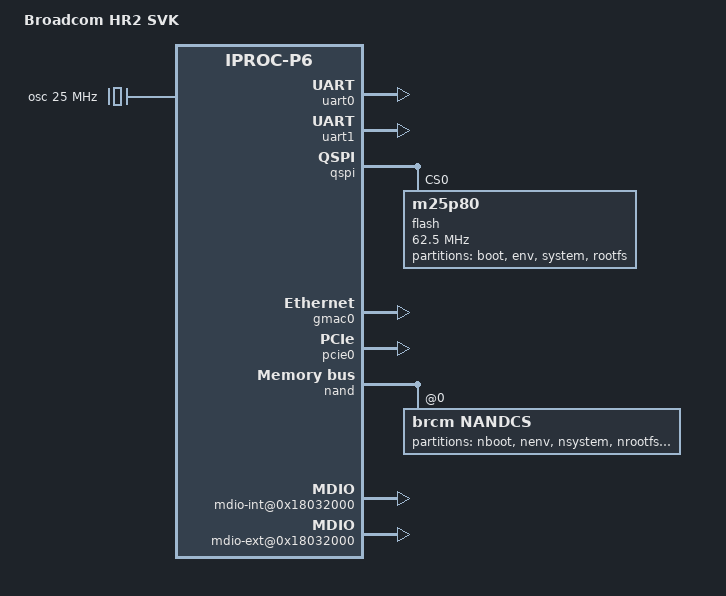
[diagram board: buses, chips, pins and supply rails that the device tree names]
/*
 HR2 DTS
*/

/dts-v1/;

#include <dt-bindings/interrupt-controller/arm-gic.h>
#include "skeleton.dtsi"


/ {
	model = "Broadcom HR2 SVK";
	compatible = "brcm,hurricane2", "brcm,iproc-p6";
	interrupt-parent = <&gic>;

	aliases {
		serial0 = &uart1;
		serial1 = &uart0;
		ethernet0 = &gmac0;
	};
  	
	chosen {
		bootargs = "console=ttyS0,115200n8 maxcpus=1 mem=496M";
	};

	cpus {
		#address-cells = <1>;
		#size-cells = <0>;

		cpu@0 {
			device_type = "cpu";
			compatible = "arm,cortex-a9";
			next-level-cache = <&L2>;
			reg = <0x0>;
		};
	};
  	
  	L2: l2-cache {
		compatible = "arm,pl310-cache";
		reg = <0x19022000 0x1000>;
		cache-unified;
		cache-level = <2>;
		/* aux register value */
		arm,aux-value = <0x00020000>;
		arm,aux-mask = <0xfff0ffff>;
		arm,filter-ranges = <0x60000000 0x80000000>;
		/*arm,data-latency = <2 2 2>;*/
		/*arm,tag-latency = <1 1 1>;*/
	};
  	
  	clocks {
		#address-cells = <1>;
		#size-cells = <1>;
		ranges;

		osc: oscillator {
			#clock-cells = <0>;
			compatible = "fixed-clock";
			clock-frequency = <25000000>;
		};

		a9pll: arm_clk@0x19000000 {
			#clock-cells = <0>;
			compatible = "brcm,iproc-armpll";
			clocks = <&osc>;
			reg = <0x19000000 0x1000>;
		};

		periph_clk: periph_clk@0x19000000 {
			#clock-cells = <0>;
			compatible = "fixed-factor-clock";
			clocks = <&a9pll>;
			clock-div = <2>;
			clock-mult = <1>;
		};

		axi_clk: axi_clk@0x1803fc00 {
			#clock-cells = <0>;
			compatible = "brcm,iproc-genpll";
			clocks = <&osc>;
			reg = <0x1803fc00 0x1c>;
		};

		apb_clk: apb_clk@0x1803fc00 {
			#clock-cells = <0>;
			compatible = "fixed-factor-clock";
			clocks = <&axi_clk>;
			clock-div = <4>;
			clock-mult = <1>;
		};	
	};
  	
  	gic: interrupt-controller@0x19021000 {
		compatible = "arm,cortex-a9-gic";
		#interrupt-cells = <3>;
		interrupt-controller;
		reg = <0x19021000 0x1000>, <0x19020100 0x100>;
	};
  	  
 	local-timer@0x19020600 {
		compatible = "arm,cortex-a9-twd-timer";
		reg = <0x19020600 0x100>;
		interrupts = <GIC_PPI 13 IRQ_TYPE_EDGE_RISING>;
		clocks = <&periph_clk>;
	};
  	
  	timer@0x19020200 {
		compatible = "arm,cortex-a9-global-timer";
		reg = <0x19020200 0x100>;
		interrupts = <GIC_PPI 11 IRQ_TYPE_EDGE_RISING>; 
		clocks = <&periph_clk>;
	};
	
	uart0: serial@0x18000300 {
		compatible = "snps,dw-apb-uart";
		reg = <0x18000300 0x100>;
		interrupts = <GIC_SPI 91 IRQ_TYPE_LEVEL_HIGH>;
		clocks = <&apb_clk>;
	};

	uart1: serial@0x18000400 {
		compatible = "snps,dw-apb-uart";
		reg = <0x18000400 0x100>;
		interrupts = <GIC_SPI 91 IRQ_TYPE_LEVEL_HIGH>;
		clocks = <&apb_clk>;
		/*status = "disabled";*/
	};
	
	qspi: spi@0x18027000 {
		#address-cells = <1>;
		#size-cells = <0>;
		compatible = "brcm,iproc-qspi";
		reg = mspi_hw:<0x18027200 0x188>,
		      bspi_hw:<0x18027000 0x050>,
		  bspi_hw_raf:<0x18027100 0x024>,
		    qspi_intr:<0x180273a0 0x01c>,
		     idm_qspi:<0x1811c408 0x004>,
		       cru_hw:<0x1803e000 0x004>;
		interrupts = <GIC_SPI 78 IRQ_TYPE_LEVEL_HIGH>,
				<GIC_SPI 79 IRQ_TYPE_LEVEL_HIGH>,
				<GIC_SPI 80 IRQ_TYPE_LEVEL_HIGH>,
				<GIC_SPI 81 IRQ_TYPE_LEVEL_HIGH>,
				<GIC_SPI 82 IRQ_TYPE_LEVEL_HIGH>,
				<GIC_SPI 83 IRQ_TYPE_LEVEL_HIGH>,
				<GIC_SPI 84 IRQ_TYPE_LEVEL_HIGH>;
		#chip-select = <0>; 
		clocks = <&apb_clk>;
		clock-names = "apb_clk";
		flash: m25p80@0 {
			#address-cells = <1>;
			#size-cells = <1>;
			compatible = "m25p80";
			m25p,fast-read = <1>;
			spi-max-frequency = <62500000>;
			reg = <0x0>;
			partition@0 {
				label = "boot";
				reg = <0x00000000 0x000c0000>;
				/*read-only;*/
			};
			partition@1 {
				label = "env";
				reg = <0x000c0000 0x00040000>;
			};
			partition@2 {
				label = "system";
				reg = <0x00100000 0x00f00000>;
			};
			partition@3 {
				label = "rootfs";
				reg = <0x01000000 0x01000000>;
			};
		};
	};

	gmac0: ethernet@0x18022000 {
		compatible = "brcm,iproc-gmac";
		reg = <0x18022000 0x1000>;
		interrupts = <GIC_SPI 202 IRQ_TYPE_LEVEL_HIGH>;
	};

	gpio_cca: gpio@0x18000060 {
		compatible = "brcm,iproc-gpio,cca";
		#address-cells = <1>;
		#size-cells = <1>;
		#gpio-cells = <2>;
		reg = gpio: <0x18000060 0x50>,
		      intr: <0x18000000 0x50>, 
		       dmu: <0x18020000 0x200>;
		ngpios = <12>;
		pin-offset = <0>;
		pin-base = <4>;
		irq-base = <256>; /* sw irq base for irq handlers */
		gpio-controller;
		interrupt-controller;
		interrupts = <GIC_SPI 91 IRQ_TYPE_LEVEL_HIGH>;
	};
	
	pcie0: pcie@0x18012000 {
		compatible = "brcm,iproc-pcie", "iproc-p2";
		reg = <0x18012000 0x1000>;
		linux,pci-domain = <0>;
		interrupts = <GIC_SPI 182 IRQ_TYPE_LEVEL_HIGH>,
			     <GIC_SPI 183 IRQ_TYPE_LEVEL_HIGH>,
			     <GIC_SPI 184 IRQ_TYPE_LEVEL_HIGH>,
			     <GIC_SPI 185 IRQ_TYPE_LEVEL_HIGH>,
			     <GIC_SPI 186 IRQ_TYPE_LEVEL_HIGH>,
			     <GIC_SPI 187 IRQ_TYPE_LEVEL_HIGH>;
		status = "okay"; 
		#address-cells = <3>;
		#size-cells = <2>;
		device_type = "pci";
		/*non-prefetchable mem space, pcie addr 0x0 0x08000000,
		* cpu addr 0x08000000, size 0x0 0x08000000
		*/  		
		ranges = <0x82000000 0 0x08000000 0x08000000 0 0x08000000>;	
		phy-addr = <0>;
	};
	
	nand: nand@0x18026000 {
		compatible = "brcm,nand-iproc", "brcm,brcmnand-v6.1";
		reg = <0x18026000 0x600>, <0x1811b408 0x10>, <0x18026f00 0x20>;
		reg-names = "nand", "iproc-idm", "iproc-ext";
		interrupts = <GIC_SPI 74 IRQ_TYPE_LEVEL_HIGH>;
		#address-cells = <1>;
		#size-cells = <0>;
		brcm,nand-has-wp;
		
		nandcs@1 {
			compatible = "brcm,nandcs";
			reg = <0>;
			nand-on-flash-bbt;
			
			nand-ecc-strength = <24>;
			nand-ecc-step-size = <1024>;
			brcm,nand-oob-sector-size = <27>;

			#address-cells = <1>;
			#size-cells = <1>;
			
			partition@0 {
				label = "nboot";
				reg = <0x0 0x200000>;
				/*read-only;*/
			};
			partition@1 {
				label = "nenv";
				reg = <0x200000 0x400000>;
			};
			partition@2 {
				label = "nsystem";
				reg = <0x600000 0xa00000>;
			};
			partition@3 {
				label = "nrootfs";
				reg = <0x1000000 0xf000000>;
			};
			partition@4 {
				label = "ncustfs";
				reg = <0x10000000 0x70000000>;
			};		
		};
	};
		
	pnor_flash: pnor_flash@0x18021000 {
		#address-cells = <1>;
		#size-cells = <1>;
		compatible = "brcm,iproc-nor";
		reg =	nor_regs: <0x18021000 0x1000>,
			nor_mem: <0x20000000 0x4000000>,
			nor_sel: <0x1803fc3c 0x4>;
		partition@0 {
			label = "pboot";
			reg = <0x0 0xc0000>;
			/*read-only;*/
		};
		partition@1 {
			label = "penv";
			reg = <0xc0000 0x40000>;
		};
		partition@2 {
			label = "psystem";
			reg = <0x100000 0xf00000>;
		};
		partition@3 {
			label = "prootfs";
			reg = <0x1000000 0x1000000>;
		};
		partition@4 {
			label = "pcustfs";
			reg = <0x2000000 0x2000000>;
		};		
	};
	
	mdio-int@0x18032000 {
		compatible = "brcm,iproc-ccb-mdio";
		#address-cells = <1>;
		#size-cells = <1>;
		reg = <0x18032000 0x1000>;
		#bus-id = <0>;
		bus-type = "internal";
		clocks = <&apb_clk>;
		clock-names = "apb_clk";
	};
	
	mdio-ext@0x18032000 {
		compatible = "brcm,iproc-ccb-mdio";
		#address-cells = <1>;
		#size-cells = <1>;
		reg = <0x18032000 0x1000>;
		#bus-id = <0>;
		bus-type = "external";
		clocks = <&apb_clk>;
		clock-names = "apb_clk";
	};
	
	amba {
		#address-cells = <1>;
		#size-cells = <1>;
		compatible = "arm,amba-bus", "simple-bus";
		interrupt-parent = <&gic>;
		ranges;

		iproc_wdt@0x18039000 {
			compatible = "arm,sp805", "arm,primecell";
	      	reg = iproc_wdt_base: <0x18039000 0x1000>,
	      		iproc_reset_reg: <0x1803f014 0x4>;
	      	wdt_boot_status_bit = <0x0>;		
			clocks = <&apb_clk>;
			/* should be "apb_pclk" according to 
			*Documentation/devicetree/bindings/arm/primecell.txt
			*/
			clock-names = "apb_pclk";
		};   			
	};
	
	dmu-pcu@0x1803f000 {
		compatible = "brcm,iproc-dmu-pcu";
		#address-cells = <1>;
		#size-cells = <1>;
		reg = <0x1803f000 0xc00>;
	};
	
	iproc-wrap-ctrl@0x1803fc00 {
		compatible = "brcm,iproc-wrap-ctrl";
		#address-cells = <1>;
		#size-cells = <1>;
		reg = <0x1803fc00 0x100>;
	};
	
	iproc-idm@0x18100000 {
		compatible = "brcm,iproc-idm";
		#address-cells = <1>;
		#size-cells = <1>;
		reg = <0x18100000 0x100000>;
		interrupts = <GIC_SPI 30 IRQ_TYPE_LEVEL_HIGH>,
				<GIC_SPI 31 IRQ_TYPE_LEVEL_HIGH>,
				<GIC_SPI 32 IRQ_TYPE_LEVEL_HIGH>,
				<GIC_SPI 33 IRQ_TYPE_LEVEL_HIGH>,
				<GIC_SPI 34 IRQ_TYPE_LEVEL_HIGH>,
				<GIC_SPI 35 IRQ_TYPE_LEVEL_HIGH>,
				<GIC_SPI 36 IRQ_TYPE_LEVEL_HIGH>,
				<GIC_SPI 37 IRQ_TYPE_LEVEL_HIGH>,
				<GIC_SPI 38 IRQ_TYPE_LEVEL_HIGH>,
				<GIC_SPI 39 IRQ_TYPE_LEVEL_HIGH>,
				<GIC_SPI 41 IRQ_TYPE_LEVEL_HIGH>,
				<GIC_SPI 42 IRQ_TYPE_LEVEL_HIGH>,
				<GIC_SPI 43 IRQ_TYPE_LEVEL_HIGH>,
				<GIC_SPI 44 IRQ_TYPE_LEVEL_HIGH>,
				<GIC_SPI 45 IRQ_TYPE_LEVEL_HIGH>,  
				<GIC_SPI 46 IRQ_TYPE_LEVEL_HIGH>,
				<GIC_SPI 47 IRQ_TYPE_LEVEL_HIGH>,
				<GIC_SPI 48 IRQ_TYPE_LEVEL_HIGH>,
				<GIC_SPI 49 IRQ_TYPE_LEVEL_HIGH>,  
				<GIC_SPI 50 IRQ_TYPE_LEVEL_HIGH>,    
				<GIC_SPI 51 IRQ_TYPE_LEVEL_HIGH>; 
	};		
};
